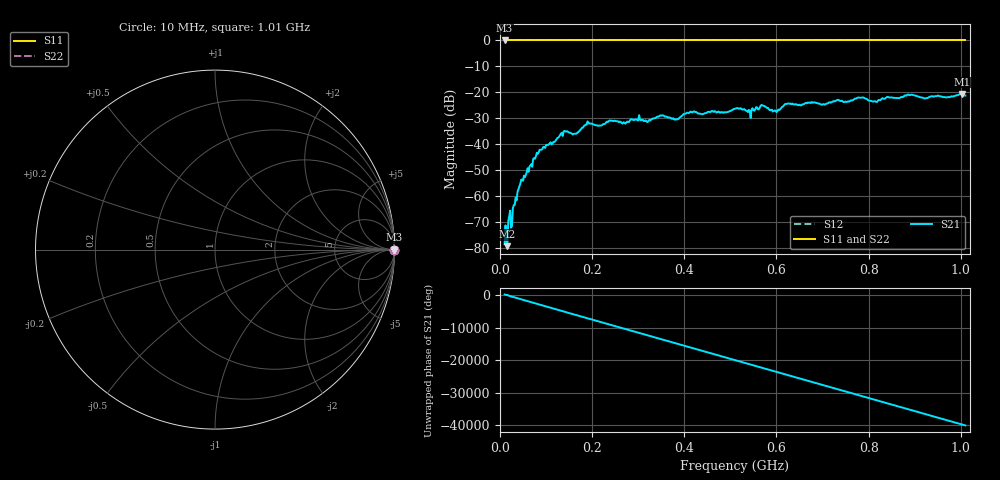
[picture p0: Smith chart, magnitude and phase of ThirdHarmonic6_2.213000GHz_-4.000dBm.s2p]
! 8/17/2025 2:21:42 AM
! C:\ANRITSUVNA\TEMP\TEMP.S2P
! CHANNEL.1
! TR.MEASUREMENT
! RAW.DATA
! RF.CORRECTION.OFF
! AVERAGING.OFF
! IF.BANDWIDTH: 5KHZ
! SWEEPTYPE:  FREQ.SWEEP(Linear)
! Reference Plane Port Info
! PORT:  PORT1  PORT2
! DISTANCE:  0  m  0  m
! TIME:  0  s  0  s
! PHASE.OFFSET:  0  deg.  0  deg.
! LOSS:  0  dB  0  dB
! REF.LOSS:  0  dB  0  dB
! REF.FREQ:  0  Hz  0  Hz
! Power Info
! POWER:  -20  dBm  -20  dBm
! EFF.POWER:  -20  dBm  -20  dBm
! SOURCE.ATTEN:  0  dB  0  dB
! TEST.ATTEN:  0  dB  0  dB
# GHZ S RI R 50.0
! FREQ.GHZ  S11RE  S11IM  S21RE  S21IM  S12RE  S12IM  S22RE  S22IM
!; PortSelection: Port_12
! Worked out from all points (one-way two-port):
!   501 points, 10 MHz to 1.01 GHz, reference 50 ohm
!   highest |S21| = -20.63 dB at 1.002 GHz (marker M1); lowest = -79.4 dB at 16 MHz (marker M2)
!   lowest |S11| = 0.0 dB at 10 MHz (marker M3)
!   |S11| at or under -10 dB: nowhere
!   |S22| runs from 0.0 to 0.0 dB; largest |S21 - S12| = 1.1
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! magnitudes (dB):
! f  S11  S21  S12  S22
! 10 MHz  0.0  -78.6  0.0  0.0
! 16 MHz  0.0  -79.4  0.0  0.0
! 28 MHz  0.0  -64.7  0.0  0.0
! 44 MHz  0.0  -55.3  0.0  0.0
! 84 MHz  0.0  -43.2  0.0  0.0
! 142 MHz  0.0  -35.2  0.0  0.0
! 162 MHz  0.0  -36.0  0.0  0.0
! 178 MHz  0.0  -33.7  0.0  0.0
! 194 MHz  0.0  -32.0  0.0  0.0
! 322 MHz  0.0  -31.1  0.0  0.0
! 344 MHz  0.0  -29.4  0.0  0.0
! 382 MHz  0.0  -30.4  0.0  0.0
! 416 MHz  0.0  -27.8  0.0  0.0
! 510 MHz  0.0  -26.3  0.0  0.0
! 540 MHz  0.0  -26.8  0.0  0.0
! 570 MHz  0.0  -25.1  0.0  0.0
! 598 MHz  0.0  -27.1  0.0  0.0
! 622 MHz  0.0  -24.5  0.0  0.0
! 678 MHz  0.0  -24.0  0.0  0.0
! 844 MHz  0.0  -22.0  0.0  0.0
! 1.002 GHz  0.0  -20.6  0.0  0.0
! 1.01 GHz  0.0  -21.3  0.0  0.0
